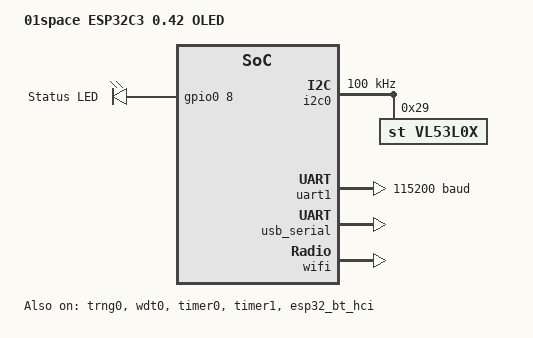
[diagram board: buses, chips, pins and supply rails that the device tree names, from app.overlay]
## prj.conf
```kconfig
CONFIG_SHELL=y
CONFIG_LOG=y
CONFIG_STDOUT_CONSOLE=y
CONFIG_GPIO=y
CONFIG_GPIO_SHELL=y

CONFIG_I2C=y
CONFIG_I2C_SHELL=y
CONFIG_SENSOR=y
CONFIG_SENSOR_SHELL=y

CONFIG_MAIN_STACK_SIZE=4096
CONFIG_HEAP_MEM_POOL_SIZE=16384

CONFIG_DISPLAY=y
CONFIG_DISPLAY_LOG_LEVEL_ERR=y

CONFIG_SSD1306=y
CONFIG_SSD1306_DEFAULT_CONTRAST=128

CONFIG_LVGL=y
CONFIG_LV_Z_SHELL=y
# CONFIG_LV_Z_MEM_POOL_SIZE=16384
CONFIG_LV_Z_MEM_POOL_SIZE=8192
CONFIG_LV_USE_LABEL=y
CONFIG_LV_USE_LOG=y
CONFIG_LV_COLOR_DEPTH_8=y
CONFIG_LV_USE_THEME_MONO=y
CONFIG_LV_Z_VDB_SIZE=40
CONFIG_LV_Z_BITS_PER_PIXEL=1
CONFIG_LV_DPI_DEF=72
# CONFIG_LV_FONT_MONTSERRAT_8=y
# CONFIG_LV_FONT_MONTSERRAT_12=y
CONFIG_LV_FONT_MONTSERRAT_14=y
# CONFIG_LV_FONT_MONTSERRAT_16=y
# CONFIG_LV_USE_FONT_COMPRESSED=y
```

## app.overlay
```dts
/ {
	model = "01space ESP32C3 0.42 OLED";

	chosen {
		zephyr,sram = &sram1;
		zephyr,console = &usb_serial;
		zephyr,shell-uart = &usb_serial;
		zephyr,flash = &flash0;
		zephyr,code-partition = &slot0_partition;
		zephyr,canbus = &twai;
		zephyr,bt-hci = &esp32_bt_hci;
	};

	aliases {
		i2c-0 = &i2c0;
		watchdog0 = &wdt0;
        led0 = &status_led;
	};

    leds {
        compatible = "gpio-leds";
        status_led: led_0 {
            gpios = <&gpio0 8 GPIO_ACTIVE_HIGH>;
            label = "Status LED";
        };
    };
};

&i2c0 {
	status = "okay";
	clock-frequency = <I2C_BITRATE_STANDARD>;
	pinctrl-0 = <&i2c0_default>;
	pinctrl-names = "default";

	vl53l0x@29 {
		compatible = "st,vl53l0x";
		reg = <0x29>;
		label = "VL53L0X";
	};
};

/* Have to use uart1 as some tests are hardcoded for that DTS node :/ */
&uart1 {
	status = "okay";
	current-speed = <115200>;
	pinctrl-0 = <&uart1_default>;
	pinctrl-names = "default";
};

&usb_serial {
	status = "okay";
};

&trng0 {
	status = "okay";
};

&wdt0 {
	status = "okay";
};

&timer0 {
	status = "okay";
};

&timer1 {
	status = "okay";
};

&wifi {
	status = "okay";
};

&esp32_bt_hci {
	status = "okay";
};
```

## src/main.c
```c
#include <zephyr/kernel.h>
#include <zephyr/device.h>
#include <zephyr/sys/printk.h>
#include <zephyr/drivers/display.h>
#include <zephyr/drivers/gpio.h>
#include <zephyr/drivers/pwm.h>
#include <zephyr/drivers/sensor/vl53l0x.h>
#include <lvgl.h>

#include <zephyr/logging/log.h>
LOG_MODULE_REGISTER(app);

#define LED0_NODE DT_ALIAS(led0)
#define LOG_LEVEL CONFIG_LOG_DEFAULT_LEVEL
#define MEASUREMENTS_COUNT 3
#define MAX_DISTANCE_DIFF 500
#define ALPHA 0.15f  // Smoothing factor (0.0 - 1.0). Lower value = smoother output

static int32_t measurements[MEASUREMENTS_COUNT] = {0};
static uint8_t measurement_index = 0;
static float smoothed_distance = 5;  // Smoothed value
static bool first_measurement = true;

static const struct gpio_dt_spec led = GPIO_DT_SPEC_GET(LED0_NODE, gpios);

static int32_t calculate_filtered_average(void) {
    // Sort values to help detect spikes
    int32_t sorted[MEASUREMENTS_COUNT];
    for (int i = 0; i < MEASUREMENTS_COUNT; i++) {
        sorted[i] = measurements[i];
    }

    // Simplified bubble sort (efficient enough for just 3 elements)
    for (int i = 0; i < MEASUREMENTS_COUNT - 1; i++) {
        for (int j = 0; j < MEASUREMENTS_COUNT - i - 1; j++) {
            if (sorted[j] > sorted[j + 1]) {
                int32_t temp = sorted[j];
                sorted[j] = sorted[j + 1];
                sorted[j + 1] = temp;
            }
        }
    }

    // Check for outlier values
    int32_t median = sorted[1];
    int valid_count = 0;
    int32_t sum = 0;

    for (int i = 0; i < MEASUREMENTS_COUNT; i++) {
        if (abs(sorted[i] - median) <= MAX_DISTANCE_DIFF) {
            sum += sorted[i];
            valid_count++;
        }
    }

    return valid_count > 0 ? sum / valid_count : median;
}

int main(void)
{
	int retled, retdis;

	const struct device *const dev = DEVICE_DT_GET_ONE(st_vl53l0x);
	struct sensor_value value;
	if (!device_is_ready(dev)) {
		printk("sensor: device not ready.\n");
		return 0;
	}

	if (!gpio_is_ready_dt(&led)) {
		LOG_ERR("LED device %s is not ready", led.port->name);
		return 0;
	}
	retled = gpio_pin_configure_dt(&led, GPIO_OUTPUT_ACTIVE);
	if (retled < 0)
		return 0;

    lv_obj_clean(lv_scr_act());

	lv_obj_t * bar = lv_bar_create(lv_scr_act());
	lv_obj_set_size(bar, 60, 10);
	lv_obj_align(bar, LV_ALIGN_TOP_MID, 0, 5);
	lv_bar_set_range(bar, 0, 2000);

	lv_obj_remove_style_all(bar);
	static lv_style_t style_indic;
	lv_style_init(&style_indic);
	lv_style_set_bg_opa(&style_indic, LV_OPA_COVER);
	lv_style_set_bg_color(&style_indic, lv_color_black());
	lv_obj_add_style(bar, &style_indic, LV_PART_INDICATOR);

	lv_obj_t * label = lv_label_create(lv_scr_act());
	lv_obj_align(label, LV_ALIGN_TOP_MID, 0, 20);
	lv_label_set_text(label, "Init...");
	lv_obj_set_style_text_font(label, &lv_font_montserrat_14, 0);

	while (1) {
		lv_timer_handler();
		retdis = sensor_sample_fetch(dev);
		if (retdis) {
			printk("sensor_sample_fetch failed retdistance %d\n", retdis);
			continue;
		}

		retdis = sensor_channel_get(dev, SENSOR_CHAN_VL53L0X_RANGE_STATUS, &value);
		bool valid_reading = (value.val1 == VL53L0X_RANGE_STATUS_RANGE_VALID);

		retdis = sensor_channel_get(dev, SENSOR_CHAN_DISTANCE, &value);
		int32_t current_distance = sensor_value_to_milli(&value);

		int32_t distance_mm = (int32_t)smoothed_distance;

		if (valid_reading && current_distance <= 1000) {
			measurements[measurement_index] = current_distance;
			measurement_index = (measurement_index + 1) % MEASUREMENTS_COUNT;

			int32_t avg_distance = calculate_filtered_average();

			if (first_measurement) {
				smoothed_distance = (float)avg_distance;
				first_measurement = false;
			} else {
				smoothed_distance = (ALPHA * (float)avg_distance) + ((1.0f - ALPHA) * smoothed_distance);
			}

			lv_bar_set_value(bar, distance_mm, LV_ANIM_ON);
			lv_obj_align(label, LV_ALIGN_TOP_MID, 0, 20);

			static char buf[32];
			snprintf(buf, sizeof(buf), "%d mm", (int)distance_mm);
			lv_label_set_text(label, buf);

			if (distance_mm > 30 && distance_mm < 300) {
				gpio_pin_set_dt(&led, 0);
				int blink_period = (distance_mm - 30) * 900 / 270 + 100;
				static int64_t last_toggle;
				int64_t now = k_uptime_get();

				if (now - last_toggle >= blink_period) {
					static bool led_state;
					led_state = !led_state;
					gpio_pin_set_dt(&led, led_state);
					last_toggle = now;
				}
			}
			else if (distance_mm <= 30) {
				gpio_pin_set_dt(&led, 1);
				lv_bar_set_value(bar, 0, LV_ANIM_OFF);
				lv_label_set_text(label, "");
			}
			else
				gpio_pin_set_dt(&led, 0);
		} else {
			lv_bar_set_value(bar, 0, LV_ANIM_OFF);
			lv_obj_align(label, LV_ALIGN_TOP_MID, 0, 2);
			lv_label_set_text(label, "Out of\nrange!");
			gpio_pin_set_dt(&led, 1);
		}

		k_sleep(K_MSEC(50));
    }

    return 0;
}
```
